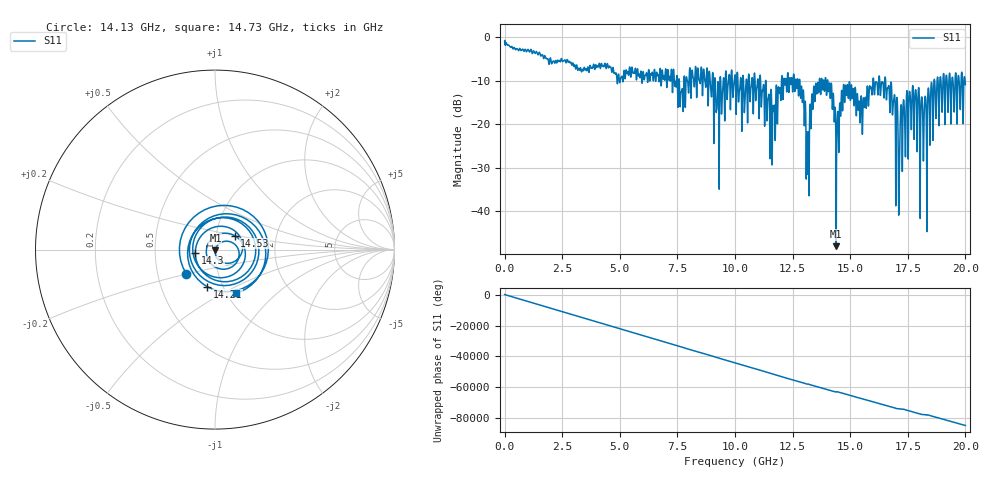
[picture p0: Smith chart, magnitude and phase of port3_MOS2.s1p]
! MS46122B
! 2250307/22442219
! 6/13/2025 8:44:51 AM
! C:\USERS\SPARKY\DOCUMENTS\VNA_DATA\JUNE13_2025\PORT3_MOS2.S1P
! CHANNEL.1
! TR.MEASUREMENT
! RAW.DATA
# GHZ S RI R 50.0
! FREQ.GHZ  S11RE  S11IM
!; PortSelection: Port_1
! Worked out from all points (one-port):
!   10001 points, 1 MHz to 20 GHz, reference 50 ohm
!   lowest |S11| = -48.1 dB at 14.39 GHz (marker M1), VSWR 1.01, Z = 50.2 - j0.331 ohm
!   |S11| at or under -10 dB: 12.81 GHz to 13.66 GHz (845.7 MHz wide, 6.39 % of centre); 14.03 GHz to 15.98 GHz (1.96 GHz wide, 13.1 % of centre); 16.54 GHz to 18.64 GHz (2.102 GHz wide, 12 % of centre) (the widest 3 of 72)
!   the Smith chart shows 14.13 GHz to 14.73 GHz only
!   S11 on the Smith chart (normalised r, x): 14.13 GHz: 0.70, -0.20; 14.21 GHz: 0.84, -0.37; 14.3 GHz: 0.80, -0.03; 14.53 GHz: 1.23, +0.20; 14.73 GHz: 1.10, -0.58
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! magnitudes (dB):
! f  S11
! 1 MHz  -0.9
! 2.501 GHz  -5.4
! 5.001 GHz  -10.4
! 7.501 GHz  -10.3
! 8.715 GHz  -10.7
! 9.245 GHz  -12.4
! 10 GHz  -8.6
! 11.16 GHz  -13.4
! 11.68 GHz  -17.0
! 12.5 GHz  -12.5
! 12.89 GHz  -11.2
! 13.16 GHz  -30.3
! 13.5 GHz  -10.7
! 14.13 GHz  -13.6
! 14.21 GHz  -13.5
! 14.3 GHz  -19.0
! 14.39 GHz  -48.1
! 14.53 GHz  -17.5
! 14.73 GHz  -11.4
! 15 GHz  -13.8
! 15.45 GHz  -16.2
! 16.59 GHz  -13.0
! 17.18 GHz  -18.9
! 17.26 GHz  -28.8
! 17.5 GHz  -17.8
! 18.25 GHz  -13.7
! 18.72 GHz  -18.7
! 20 GHz  -10.9
